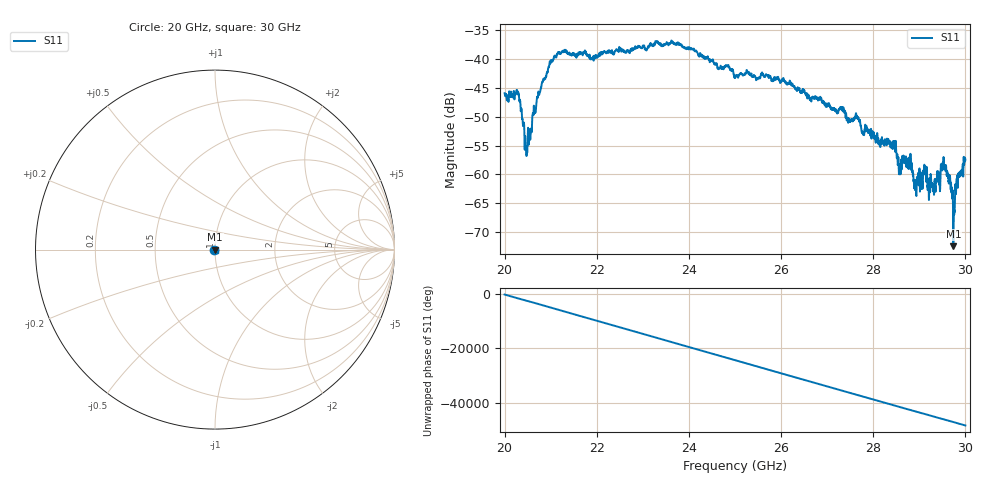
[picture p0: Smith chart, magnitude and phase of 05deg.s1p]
#  HZ  S  RI  R  50.00
! Rohde & Schwarz ZVA40 4Ports - Version 3.90 - 1145.1110k42 SN: 100403
! Date: 2023-10-03 11:35:59
! Measurement: S12
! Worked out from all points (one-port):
!   5001 points, 20 GHz to 30 GHz, reference 50 ohm
!   lowest |S11| = -72.4 dB at 29.74 GHz (marker M1), VSWR 1.00, Z = 50 - j0.00909 ohm
!   |S11| at or under -10 dB: start of sweep to end of sweep
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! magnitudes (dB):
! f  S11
! 20 GHz  -46.0
! 20.29 GHz  -45.8
! 20.48 GHz  -56.0
! 20.82 GHz  -43.9
! 21.02 GHz  -40.2
! 21.25 GHz  -38.7
! 21.9 GHz  -40.0
! 22.5 GHz  -38.3
! 23.75 GHz  -37.5
! 25 GHz  -43.3
! 26.25 GHz  -44.5
! 27.32 GHz  -48.4
! 27.5 GHz  -50.9
! 27.65 GHz  -50.2
! 27.77 GHz  -52.8
! 28.45 GHz  -55.0
! 28.57 GHz  -58.2
! 28.75 GHz  -58.9
! 28.81 GHz  -56.7
! 28.91 GHz  -61.4
! 29.12 GHz  -59.6
! 29.31 GHz  -61.8
! 29.54 GHz  -58.5
! 29.66 GHz  -61.0
! 29.74 GHz  -72.4
! 29.78 GHz  -62.0
! 29.83 GHz  -62.0
! 30 GHz  -57.4
